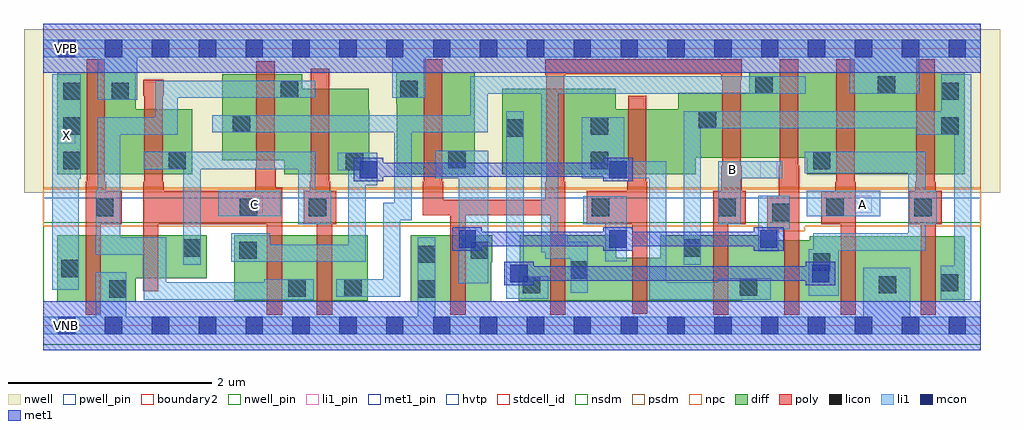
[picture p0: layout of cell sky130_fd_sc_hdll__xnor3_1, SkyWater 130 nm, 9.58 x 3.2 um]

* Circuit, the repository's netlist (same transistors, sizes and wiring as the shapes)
* Copyright 2020 The SkyWater PDK Authors
*
* Licensed under the Apache License, Version 2.0 (the "License");
* you may not use this file except in compliance with the License.
* You may obtain a copy of the License at
*
*     https://www.apache.org/licenses/LICENSE-2.0
*
* Unless required by applicable law or agreed to in writing, software
* distributed under the License is distributed on an "AS IS" BASIS,
* WITHOUT WARRANTIES OR CONDITIONS OF ANY KIND, either express or implied.
* See the License for the specific language governing permissions and
* limitations under the License.
*
* SPDX-License-Identifier: Apache-2.0

.SUBCKT sky130_fd_sc_hdll__xnor3_1 A B C VGND VNB VPB VPWR X
*.PININFO A:I B:I C:I VGND:I VNB:I VPB:I VPWR:I X:O
MMIN3 X net57 VGND VNB sky130_fd_pr__nfet_01v8 m=1 w=0.65U l=0.15U mult=1 sa=0.265
+ sb=0.265 sd=0.28 area=0.063 perim=1.14
MI29 Ab Bb mid2 VNB sky130_fd_pr__nfet_01v8 m=1 w=0.6U l=0.15U mult=1 sa=0.265
+ sb=0.265 sd=0.28 area=0.063 perim=1.14
MI25 Abb Bb mid1 VNB sky130_fd_pr__nfet_01v8 m=1 w=0.42U l=0.15U mult=1 sa=0.265
+ sb=0.265 sd=0.28 area=0.063 perim=1.14
MI17 Bb B VGND VNB sky130_fd_pr__nfet_01v8 m=1 w=0.65U l=0.15U mult=1 sa=0.265
+ sb=0.265 sd=0.28 area=0.063 perim=1.14
MI649 mid1 Cb net57 VNB sky130_fd_pr__nfet_01v8 m=1 w=0.64U l=0.15U mult=1 sa=0.265
+ sb=0.265 sd=0.28 area=0.063 perim=1.14
MI44 Ab A VGND VNB sky130_fd_pr__nfet_01v8 m=1 w=0.64U l=0.15U mult=1 sa=0.265
+ sb=0.265 sd=0.28 area=0.063 perim=1.14
MI34 Cb C VGND VNB sky130_fd_pr__nfet_01v8 m=1 w=0.42U l=0.15U mult=1 sa=0.265
+ sb=0.265 sd=0.28 area=0.063 perim=1.14
MI2 mid2 C net57 VNB sky130_fd_pr__nfet_01v8 m=1 w=0.64U l=0.15U mult=1 sa=0.265
+ sb=0.265 sd=0.28 area=0.063 perim=1.14
MI46 Abb Ab VGND VNB sky130_fd_pr__nfet_01v8 m=1 w=0.64U l=0.15U mult=1 sa=0.265
+ sb=0.265 sd=0.28 area=0.063 perim=1.14
MI24 Ab B mid1 VNB sky130_fd_pr__nfet_01v8 m=1 w=0.64U l=0.15U mult=1 sa=0.265
+ sb=0.265 sd=0.28 area=0.063 perim=1.14
MI28 Abb B mid2 VNB sky130_fd_pr__nfet_01v8 m=1 w=0.64U l=0.15U mult=1 sa=0.265
+ sb=0.265 sd=0.28 area=0.063 perim=1.14
MMIP3 X net57 VPWR VPB sky130_fd_pr__pfet_01v8_hvt m=1 w=1.0U l=0.18U mult=1 sa=0.265
+ sb=0.265 sd=0.28 area=0.063 perim=1.14
MI650 mid1 C net57 VPB sky130_fd_pr__pfet_01v8_hvt m=1 w=0.84U l=0.18U mult=1 sa=0.265
+ sb=0.265 sd=0.28 area=0.063 perim=1.14
MI27 mid2 B Ab VPB sky130_fd_pr__pfet_01v8_hvt m=1 w=0.84U l=0.18U mult=1 sa=0.265
+ sb=0.265 sd=0.28 area=0.063 perim=1.14
MI47 Abb Ab VPWR VPB sky130_fd_pr__pfet_01v8_hvt m=1 w=1.0U l=0.18U mult=1 sa=0.265
+ sb=0.265 sd=0.28 area=0.063 perim=1.14
MI23 mid1 B Abb VPB sky130_fd_pr__pfet_01v8_hvt m=1 w=0.64U l=0.18U mult=1 sa=0.265
+ sb=0.265 sd=0.28 area=0.063 perim=1.14
MI26 mid2 Bb Abb VPB sky130_fd_pr__pfet_01v8_hvt m=1 w=0.64U l=0.18U mult=1 sa=0.265
+ sb=0.265 sd=0.28 area=0.063 perim=1.14
MI7 mid2 Cb net57 VPB sky130_fd_pr__pfet_01v8_hvt m=1 w=0.84U l=0.18U mult=1 sa=0.265
+ sb=0.265 sd=0.28 area=0.063 perim=1.14
MI33 Cb C VPWR VPB sky130_fd_pr__pfet_01v8_hvt m=1 w=0.64U l=0.18U mult=1 sa=0.265
+ sb=0.265 sd=0.28 area=0.063 perim=1.14
MI45 Ab A VPWR VPB sky130_fd_pr__pfet_01v8_hvt m=1 w=1.0U l=0.18U mult=1 sa=0.265
+ sb=0.265 sd=0.28 area=0.063 perim=1.14
MI16 Bb B VPWR VPB sky130_fd_pr__pfet_01v8_hvt m=1 w=1.0U l=0.18U mult=1 sa=0.265
+ sb=0.265 sd=0.28 area=0.063 perim=1.14
MI19 mid1 Bb Ab VPB sky130_fd_pr__pfet_01v8_hvt m=1 w=0.84U l=0.18U mult=1 sa=0.265
+ sb=0.265 sd=0.28 area=0.063 perim=1.14
.ENDS sky130_fd_sc_hdll__xnor3_1

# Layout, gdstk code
import gdstk
lib = gdstk.Library(unit=1e-6, precision=1e-09)
def R(c, l, rs):  # rectangles x0, y0, x1, y1
    for r in rs: c.add(gdstk.rectangle(r[:2], r[2:], *l))
def A(c, l, x, y, w, h, nx, ny, dx, dy):  # array of equal rectangles
    R(c, l, [(x+i*dx, y+j*dy, x+i*dx+w, y+j*dy+h) for i in range(nx) for j in range(ny)])
def P(c, l, *ps):  # polygons
    for p in ps: c.add(gdstk.Polygon(p, *l))
nwell_pin = (64, 16)
nwell = (64, 20)
diff = (65, 20)
poly = (66, 20)
licon = (66, 44)
li1_pin = (67, 16)
li1 = (67, 20)
mcon = (67, 44)
met1_pin = (68, 16)
met1 = (68, 20)
hvtp = (78, 44)
stdcell_id = (81, 4)
nsdm = (93, 44)
psdm = (94, 20)
npc = (95, 20)
pwell_pin = (122, 16)
boundary2 = (236, 0)

sky130_fd_sc_hdll__xnor3 = lib.new_cell('sky130_fd_sc_hdll__xnor3_1')
R(sky130_fd_sc_hdll__xnor3, nwell_pin, [(0.145,2.635,0.315,2.805)])
R(sky130_fd_sc_hdll__xnor3, nwell, [(-0.19,1.305,9.39,2.91)])
R(sky130_fd_sc_hdll__xnor3, diff, [(1.875,0.245,3.185,0.885)])
P(sky130_fd_sc_hdll__xnor3, diff, [(1.46,2.125),(0.905,2.125),(0.905,2.485),(0.135,2.485),(0.135,1.485),(1.46,1.485)],
  [(1.605,0.885),(0.135,0.885),(0.135,0.235),(0.905,0.235),(0.905,0.465),(1.605,0.465)],
  [(3.2,2.115),(3.195,2.115),(3.195,2.325),(2.54,2.325),(2.54,2.465),(1.755,2.465),(1.755,1.625),(2.365,1.625),(2.365,1.485),(3.2,1.485)],
  [(4.235,2.485),(3.465,2.485),(3.465,2.175),(3.47,2.175),(3.47,1.485),(4.235,1.485)],
  [(4.405,0.885),(3.605,0.885),(3.605,0.235),(4.395,0.235),(4.395,0.62),(4.405,0.62)],
  [(9.045,2.485),(6.93,2.485),(6.93,2.285),(6.23,2.285),(6.23,2.125),(5.62,2.125),(5.62,2.325),(4.505,2.325),(4.505,1.485),(6.405,1.485),(6.405,1.645),(7.495,1.645),(7.495,1.485),(9.045,1.485)],
  [(9.045,0.875),(7.525,0.875),(7.525,0.835),(7.025,0.835),(7.025,0.885),(6.055,0.885),(6.055,0.665),(5.625,0.665),(5.625,0.885),(4.675,0.885),(4.675,0.52),(4.665,0.52),(4.665,0.245),(6.86,0.245),(6.86,0.235),(9.045,0.235)])
P(sky130_fd_sc_hdll__xnor3, poly, [(0.77,1.325),(0.615,1.325),(0.615,1.41),(0.605,1.41),(0.605,2.615),(0.425,2.615),(0.425,1.41),(0.415,1.41),(0.415,0.105),(0.565,0.105),(0.565,0.995),(0.77,0.995)],
  [(2.345,1.355),(2.28,1.355),(2.28,1.55),(2.27,1.55),(2.27,2.595),(2.09,2.595),(2.09,1.55),(2.08,1.55),(2.08,1.325),(1.18,1.325),(1.18,1.41),(1.17,1.41),(1.17,2.255),(1.18,2.255),(1.18,2.415),(0.98,2.415),(0.98,2.255),(0.99,2.255),(0.99,1.41),(0.98,1.41),(0.98,0.335),(1.13,0.335),(1.13,0.995),(2.195,0.995),(2.195,0.105),(2.345,0.105)],
  [(2.875,1.325),(2.815,1.325),(2.815,1.41),(2.805,1.41),(2.805,2.52),(2.625,2.52),(2.625,1.41),(2.615,1.41),(2.615,1.325),(2.555,1.325),(2.555,0.995),(2.685,0.995),(2.685,0.105),(2.835,0.105),(2.835,0.995),(2.875,0.995)],
  [(5.93,1.41),(5.92,1.41),(5.92,2.255),(5.74,2.255),(5.74,1.41),(5.73,1.41),(5.73,1.325),(5.335,1.325),(5.335,0.995),(5.78,0.995),(5.78,0.115),(5.93,0.115)],
  [(6.895,1.325),(6.855,1.325),(6.855,1.57),(6.845,1.57),(6.845,2.415),(6.855,2.415),(6.855,2.615),(4.925,2.615),(4.925,2.455),(4.935,2.455),(4.935,1.41),(4.925,1.41),(4.925,1.235),(3.925,1.235),(3.925,1.41),(3.915,1.41),(3.915,2.615),(3.735,2.615),(3.735,1.41),(3.725,1.41),(3.725,1.085),(3.995,1.085),(3.995,0.105),(4.145,0.105),(4.145,1.085),(4.975,1.085),(4.975,0.105),(5.125,0.105),(5.125,1.41),(5.115,1.41),(5.115,2.455),(5.125,2.455),(5.125,2.465),(6.655,2.465),(6.655,2.415),(6.665,2.415),(6.665,1.57),(6.655,1.57),(6.655,1.325),(6.575,1.325),(6.575,0.105),(6.725,0.105),(6.725,0.995),(6.895,0.995)],
  [(7.42,1.57),(7.41,1.57),(7.41,2.615),(7.23,2.615),(7.23,1.57),(7.22,1.57),(7.22,1.275),(7.105,1.275),(7.105,0.945),(7.27,0.945),(7.27,0.105),(7.42,0.105)],
  [(7.975,1.41),(7.965,1.41),(7.965,2.615),(7.785,2.615),(7.785,1.41),(7.775,1.41),(7.775,1.325),(7.635,1.325),(7.635,0.995),(7.825,0.995),(7.825,0.105),(7.975,0.105)],
  [(8.82,1.325),(8.76,1.325),(8.76,1.41),(8.75,1.41),(8.75,2.615),(8.57,2.615),(8.57,1.41),(8.56,1.41),(8.56,1.325),(8.5,1.325),(8.5,0.995),(8.61,0.995),(8.61,0.105),(8.76,0.105),(8.76,0.995),(8.82,0.995)])
A(sky130_fd_sc_hdll__xnor3, licon, 0.195, 1.535, 0.17, 0.17, 1, 3, 0, 0.34)
R(sky130_fd_sc_hdll__xnor3, licon, [(0.645,0.275,0.815,0.445), (3.675,0.275,3.845,0.445), (2.405,0.285,2.575,0.455), (2.955,0.285,3.125,0.455), (6.835,0.295,7.005,0.465), (4.705,0.315,4.875,0.485), (8.2,0.315,8.37,0.485), (8.81,0.335,8.98,0.505), (5.175,0.46,5.345,0.63), (0.175,0.475,0.345,0.645), (7.555,0.54,7.725,0.71), (3.675,0.615,3.845,0.785), (1.925,0.655,2.095,0.825), (4.195,0.655,4.365,0.825), (1.375,0.675,1.545,0.845), (6.285,0.675,6.455,0.845), (7.155,1.025,7.325,1.195), (0.515,1.075,0.685,1.245), (1.93,1.075,2.1,1.245), (2.605,1.075,2.775,1.245), (5.385,1.075,5.555,1.245), (6.625,1.075,6.795,1.245), (7.685,1.075,7.855,1.245), (8.55,1.075,8.72,1.245), (2.97,1.525,3.14,1.695), (1.23,1.535,1.4,1.705), (5.375,1.535,5.545,1.705), (7.555,1.535,7.725,1.705), (3.975,1.545,4.145,1.715), (4.545,1.855,4.715,2.025), (5.375,1.875,5.545,2.045), (8.815,1.875,8.985,2.045), (1.86,1.895,2.03,2.065), (6.435,1.935,6.605,2.105), (0.67,2.215,0.84,2.385), (8.815,2.215,8.985,2.385), (2.33,2.235,2.5,2.405), (3.505,2.235,3.675,2.405), (6.99,2.275,7.16,2.445), (8.19,2.275,8.36,2.445)])
R(sky130_fd_sc_hdll__xnor3, li1_pin, [(1.985,1.105,2.155,1.275), (7.96,1.105,8.13,1.275), (7.035,1.445,7.205,1.615), (0.145,1.785,0.315,1.955)])
R(sky130_fd_sc_hdll__xnor3, li1, [(1.715,1.075,2.33,1.325), (7.495,1.075,8.215,1.325)])
P(sky130_fd_sc_hdll__xnor3, li1, [(9.11,2.465),(8.815,2.465),(8.815,2.105),(6.285,2.105),(6.285,0.595),(6.455,0.595),(6.455,1.935),(8.575,1.935),(8.575,1.875),(8.94,1.875),(8.94,0.585),(8.81,0.585),(8.81,0.255),(9.11,0.255)],
  [(8.77,1.325),(8.66,1.325),(8.66,1.705),(7.475,1.705),(7.475,1.495),(8.49,1.495),(8.49,0.905),(7.555,0.905),(7.555,0.75),(7.515,0.75),(7.515,0.295),(7.805,0.295),(7.805,0.735),(8.66,0.735),(8.66,0.995),(8.77,0.995)],
  [(0.365,2.465),(0.085,2.465),(0.085,0.35),(0.345,0.35),(0.345,1.44),(0.365,1.44)],
  [(2.67,2.405),(1.1,2.405),(1.1,2.045),(0.535,2.045),(0.535,1.33),(0.515,1.33),(0.515,0.695),(0.985,0.695),(0.985,0.255),(2.655,0.255),(2.655,0.455),(2.17,0.455),(2.17,0.425),(1.205,0.425),(1.205,0.865),(0.755,0.865),(0.755,1.875),(1.32,1.875),(1.32,2.235),(2.67,2.235)],
  [(2.825,1.325),(2.67,1.325),(2.67,1.705),(0.985,1.705),(0.985,1.535),(1.375,1.535),(1.375,0.595),(1.545,0.595),(1.545,1.535),(2.5,1.535),(2.5,0.995),(2.825,0.995)],
  [(3.275,1.695),(2.89,1.695),(2.89,1.525),(2.995,1.525),(2.995,0.795),(2.225,0.795),(2.225,0.905),(1.845,0.905),(1.845,0.625),(3.165,0.625),(3.165,1.375),(3.275,1.375)],
  [(4.365,1.715),(3.845,1.715),(3.845,1.445),(4.075,1.445),(4.075,0.415),(4.365,0.415)],
  [(4.955,0.485),(4.755,0.485),(4.755,0.595),(4.715,0.595),(4.715,2.105),(4.545,2.105),(4.545,0.265),(4.955,0.265)],
  [(5.725,1.27),(5.3,1.27),(5.3,0.995),(5.515,0.995),(5.515,0.63),(5.725,0.63)],
  [(7.14,0.465),(6.625,0.465),(6.625,0.425),(6.115,0.425),(6.115,1.615),(5.7,1.615),(5.7,2.045),(5.285,2.045),(5.285,1.445),(5.945,1.445),(5.945,0.255),(7.14,0.255)],
  [(7.255,1.615),(6.625,1.615),(6.625,0.995),(6.845,0.995),(6.845,1.445),(7.255,1.445)],
  [(9.2,0.085),(8.51,0.085),(8.51,0.565),(8.05,0.565),(8.05,0.085),(3.845,0.085),(3.845,0.865),(3.675,0.865),(3.675,0.085),(0.815,0.085),(0.815,0.525),(0.515,0.525),(0.515,0.085),(0,0.085),(0,-0.085),(9.2,-0.085)],
  [(7.325,1.275),(7.015,1.275),(7.015,0.73),(7.22,0.73),(7.22,0.945),(7.325,0.945)],
  [(7.485,2.445),(4.19,2.445),(4.19,2.065),(1.66,2.065),(1.66,1.895),(3.445,1.895),(3.445,1.205),(3.335,1.205),(3.335,0.455),(2.875,0.455),(2.875,0.285),(3.505,0.285),(3.505,1.035),(3.615,1.035),(3.615,1.895),(4.36,1.895),(4.36,2.275),(4.885,2.275),(4.885,0.72),(4.925,0.72),(4.925,0.655),(5.175,0.655),(5.175,0.32),(5.345,0.32),(5.345,0.825),(5.145,0.825),(5.145,0.89),(5.055,0.89),(5.055,2.275),(7.485,2.275)],
  [(9.2,2.805),(0,2.805),(0,2.635),(0.535,2.635),(0.535,2.215),(0.92,2.215),(0.92,2.635),(3.425,2.635),(3.425,2.235),(3.755,2.235),(3.755,2.635),(7.915,2.635),(7.915,2.275),(8.595,2.275),(8.595,2.635),(9.2,2.635)])
A(sky130_fd_sc_hdll__xnor3, mcon, 0.145, -0.085, 0.17, 0.17, 20, 2, 0.46, 2.72)
A(sky130_fd_sc_hdll__xnor3, mcon, 4.075, 0.765, 0.17, 0.17, 3, 1, 1.48, 0)
R(sky130_fd_sc_hdll__xnor3, mcon, [(4.585,0.425,4.755,0.595), (7.545,0.425,7.715,0.595), (3.105,1.445,3.275,1.615), (5.555,1.445,5.725,1.615)])
R(sky130_fd_sc_hdll__xnor3, met1_pin, [(0.145,-0.085,0.315,0.085), (0.145,2.635,0.315,2.805)])
R(sky130_fd_sc_hdll__xnor3, met1, [(0,-0.24,9.2,0.24), (0,2.48,9.2,2.96)])
P(sky130_fd_sc_hdll__xnor3, met1, [(7.265,0.965),(6.975,0.965),(6.975,0.92),(5.785,0.92),(5.785,0.965),(5.495,0.965),(5.495,0.92),(4.305,0.92),(4.305,0.965),(4.015,0.965),(4.015,0.735),(4.305,0.735),(4.305,0.78),(5.495,0.78),(5.495,0.735),(5.785,0.735),(5.785,0.78),(6.975,0.78),(6.975,0.735),(7.265,0.735)],
  [(7.775,0.625),(7.485,0.625),(7.485,0.58),(4.815,0.58),(4.815,0.625),(4.525,0.625),(4.525,0.395),(4.815,0.395),(4.815,0.44),(7.485,0.44),(7.485,0.395),(7.775,0.395)],
  [(5.785,1.645),(5.495,1.645),(5.495,1.6),(3.335,1.6),(3.335,1.645),(3.045,1.645),(3.045,1.415),(3.335,1.415),(3.335,1.46),(5.495,1.46),(5.495,1.415),(5.785,1.415)])
R(sky130_fd_sc_hdll__xnor3, hvtp, [(0,1.25,9.2,2.72)])
R(sky130_fd_sc_hdll__xnor3, stdcell_id, [(0,0,9.2,2.72)])
R(sky130_fd_sc_hdll__xnor3, nsdm, [(0,-0.19,9.2,1.015)])
R(sky130_fd_sc_hdll__xnor3, psdm, [(0,1.355,9.2,2.91)])
P(sky130_fd_sc_hdll__xnor3, npc, [(9.2,1.345),(0,1.345),(0,0.975),(7.055,0.975),(7.055,0.925),(7.475,0.925),(7.475,0.975),(9.2,0.975)])
R(sky130_fd_sc_hdll__xnor3, pwell_pin, [(0.145,-0.085,0.315,0.085)])
R(sky130_fd_sc_hdll__xnor3, boundary2, [(0,0,9.2,2.72)])
sky130_fd_sc_hdll__xnor3.add(gdstk.Label('X', (0.23,1.87), layer=67, texttype=5))
sky130_fd_sc_hdll__xnor3.add(gdstk.Label('B', (6.765,1.53), layer=67, texttype=5))
sky130_fd_sc_hdll__xnor3.add(gdstk.Label('C', (2.07,1.19), layer=67, texttype=5))
sky130_fd_sc_hdll__xnor3.add(gdstk.Label('A', (8.04,1.19), layer=67, texttype=5))
sky130_fd_sc_hdll__xnor3.add(gdstk.Label('VNB', (0.23,0), layer=64, texttype=59))
sky130_fd_sc_hdll__xnor3.add(gdstk.Label('VPB', (0.23,2.72), layer=64, texttype=5))
sky130_fd_sc_hdll__xnor3.add(gdstk.Label('VGND', (0.23,0), layer=68, texttype=5))
sky130_fd_sc_hdll__xnor3.add(gdstk.Label('VPWR', (0.23,2.72), layer=68, texttype=5))
sky130_fd_sc_hdll__xnor3.add(gdstk.Label('xnor3_1', (0,0), layer=83, texttype=44))

lib.write_gds('sky130_fd_sc_hdll__xnor3_1.gds')
